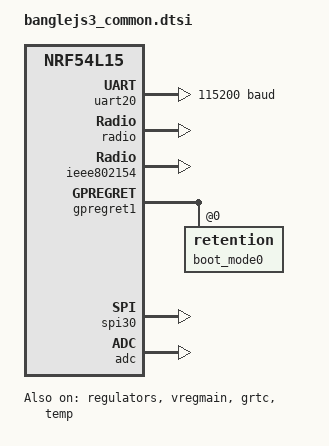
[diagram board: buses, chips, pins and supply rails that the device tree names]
/*
 * Copyright (c) 2024 Nordic Semiconductor ASA
 *
 * SPDX-License-Identifier: Apache-2.0
 */

/* This file is common to the secure and non-secure domain */

#include "banglejs3_nrf54l15-pinctrl.dtsi"

/* for debug port */
&uart20 {
	status = "okay";
	current-speed = <115200>;
	pinctrl-0 = <&uart20_default>;
	pinctrl-1 = <&uart20_sleep>;
	pinctrl-names = "default", "sleep";
};

/*&uart30 {
	current-speed = <115200>;
	pinctrl-0 = <&uart30_default>;
	pinctrl-1 = <&uart30_sleep>;
	pinctrl-names = "default", "sleep";
};*/

/*&pwm20 {
	status = "okay";
	pinctrl-0 = <&pwm20_default>;
	pinctrl-1 = <&pwm20_sleep>;
	pinctrl-names = "default", "sleep";
};*/

/ {
	chosen {
		zephyr,console = &uart20;
		zephyr,shell-uart = &uart20;
		zephyr,uart-mcumgr = &uart20;
		zephyr,bt-mon-uart = &uart20;
		zephyr,bt-c2h-uart = &uart20;
		zephyr,flash-controller = &rram_controller;
		zephyr,flash = &cpuapp_rram;
		zephyr,ieee802154 = &ieee802154;
		zephyr,boot-mode = &boot_mode0;
	};
};

&cpuapp_sram {
	status = "okay";
};

&lfxo {
	load-capacitors = "internal";
	load-capacitance-femtofarad = <17000>;
};

&hfxo {
	load-capacitors = "internal";
	load-capacitance-femtofarad = <15000>;
};

&regulators {
	status = "okay";
};

&vregmain {
	status = "okay";
	regulator-initial-mode = <NRF5X_REG_MODE_DCDC>;
};

&grtc {
	owned-channels = <0 1 2 3 4 5 6 7 8 9 10 11>;
	/* Channels 7-11 reserved for Zero Latency IRQs, 3-4 for FLPR */
	child-owned-channels = <3 4 7 8 9 10 11>;
	status = "okay";
};

&gpio0 {
	status = "okay";
};

&gpio1 {
	status = "okay";
};

&gpio2 {
	status = "okay";
};

&gpiote20 {
	status = "okay";
};

&gpiote30 {
	status = "okay";
};

&radio {
	status = "okay";
};

&ieee802154 {
	status = "okay";
};

&temp {
	status = "okay";
};

&clock {
	status = "okay";
};

&gpregret1 {
	status = "okay";

	boot_mode0: boot_mode@0 {
		compatible = "zephyr,retention";
		status = "okay";
		reg = <0x0 0x1>;
	};
};

&spi30 {
   	status = "okay";
	/* cs-gpios = <&gpio0 3 GPIO_ACTIVE_LOW>; */
	pinctrl-0 = <&spi30_default>;
	pinctrl-1 = <&spi30_sleep>;
	pinctrl-names = "default", "sleep";
};

&adc {
	status = "okay";
};

